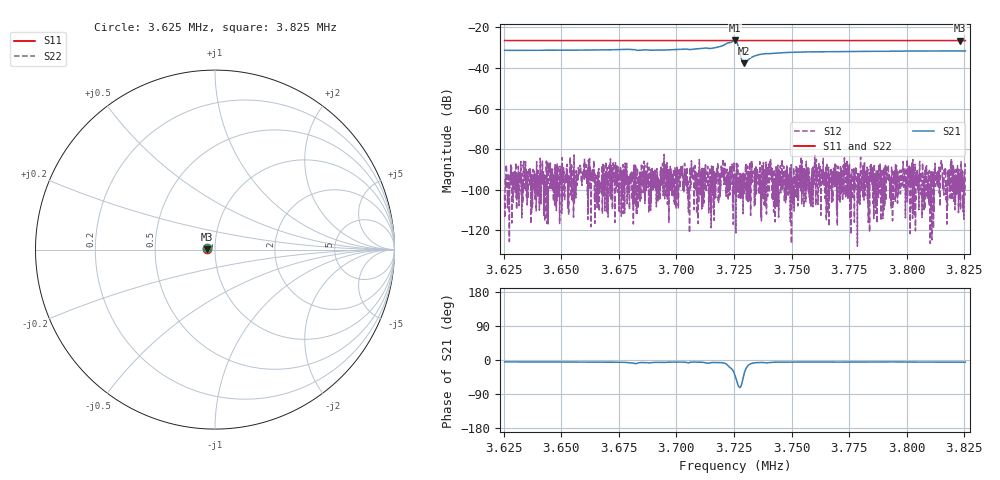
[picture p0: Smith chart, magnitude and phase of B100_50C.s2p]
# Hz S dB R 50.000
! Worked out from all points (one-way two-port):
!   6401 points, 3.625 MHz to 3.825 MHz, reference 50 ohm
!   highest |S21| = -26.47 dB at 3.725 MHz (marker M1); lowest = -37.7 dB at 3.729 MHz (marker M2)
!   lowest |S11| = -26.6 dB at 3.823 MHz (marker M3), VSWR 1.10, Z = 45.5 + j0.22 ohm
!   |S11| at or under -10 dB: start of sweep to end of sweep
!   |S22| runs from -26.6 to -26.5 dB; largest |S21 - S12| = 0.047
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3625469  -26.50 175.4  -31.31 -4.7  -102.28 144.9  -26.52 170.1
3658813  -26.51 175.7  -31.23 -5.4  -95.96 84.3  -26.54 170.4
3678656  -26.51 175.8  -30.85 -6.6  -106.93 -85.0  -26.54 170.6
3683563  -26.52 175.8  -31.35 -7.5  -97.10 108.5  -26.54 170.6
3692156  -26.52 175.9  -31.16 -6.2  -101.48 93.0  -26.55 170.7
3715188  -26.52 176.1  -30.35 -6.9  -111.03 81.3  -26.56 170.9
3719063  -26.53 176.2  -29.47 -6.7  -92.04 9.7  -26.56 171.0
3722250  -26.52 176.2  -27.74 -13.8  -98.11 18.4  -26.56 171.0
3724844  -26.53 176.2  -26.68 -30.7  -94.05 -128.5  -26.56 171.0
3725469  -26.53 176.2  -26.47 -40.5  -91.71 59.5  -26.56 171.0
3726032  -26.52 176.2  -26.96 -52.2  -94.47 45.1  -26.56 171.0
3726532  -26.52 176.2  -28.11 -62.3  -89.58 2.1  -26.56 171.0
3728344  -26.53 176.2  -35.97 -64.3  -98.15 88.1  -26.56 171.1
3728782  -26.52 176.2  -37.30 -52.6  -94.81 -33.0  -26.56 171.0
3729219  -26.52 176.2  -37.65 -40.7  -97.33 156.9  -26.56 171.0
3729969  -26.53 176.3  -37.23 -26.4  -90.19 76.8  -26.57 171.1
3733500  -26.53 176.3  -34.32 -8.0  -91.33 3.3  -26.56 171.1
3737625  -26.53 176.3  -33.07 -6.7  -101.93 141.0  -26.57 171.1
3758813  -26.53 176.5  -32.08 -5.5  -92.88 62.9  -26.58 171.3
3792156  -26.54 176.8  -31.81 -5.1  -95.93 114.1  -26.59 171.6
3823125  -26.56 177.1  -31.64 -5.6  -96.30 96.2  -26.61 171.9
3825469  -26.55 177.1  -31.63 -5.6  -88.11 23.2  -26.61 171.9
